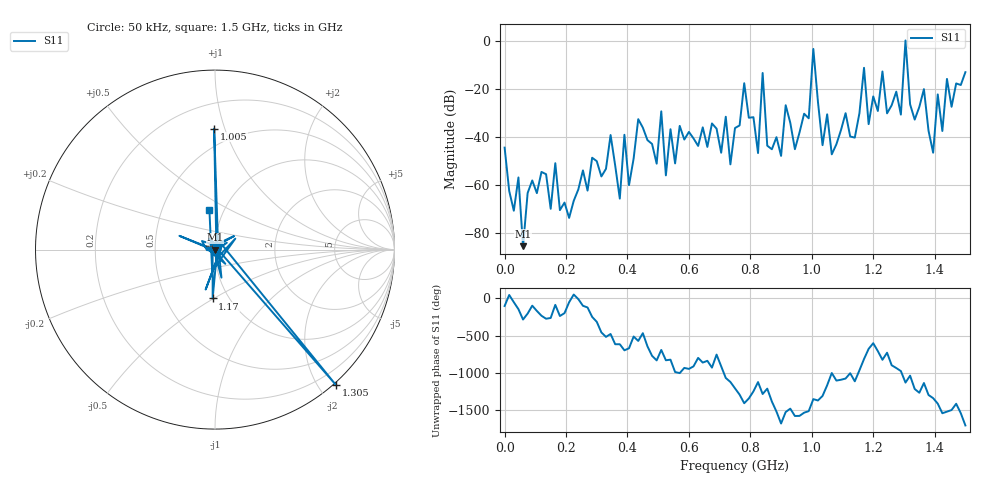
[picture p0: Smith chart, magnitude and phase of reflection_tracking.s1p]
! Created with skrf 1.8.0 (http://scikit-rf.org).
# Hz S RI R 50.0
!freq ReS11 ImS11
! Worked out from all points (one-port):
!   101 points, 50 kHz to 1.5 GHz, reference 50 ohm
!   lowest |S11| = -85.6 dB at 60.05 MHz (marker M1), VSWR 1.00, Z = 50 + j0.00508 ohm
!   |S11| at or under -10 dB: start of sweep to 1.002 GHz; 1.009 GHz to 1.3 GHz (290.6 MHz wide, 25.2 % of centre); 1.311 GHz to end of sweep
!   S11 on the Smith chart (normalised r, x): 50 kHz: 1.00, -0.01; 1.005 GHz: 0.37, +0.92; 1.17 GHz: 0.84, -0.49; 1.305 GHz: -0.03, -2.23; 1.5 GHz: 0.86, +0.39
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50000  -0.00138 -0.00576
6.0048e7  1.3e-05 5.08e-05
1.950435e8  -0.000402 0.000136
3.450385e8  -0.00508 -0.00958
3.750375e8  -0.000134 0.000495
3.90037e8  0.01 0.00438
4.050365e8  0.000614 0.000763
4.350355e8  -0.02 0.0118
4.950335e8  -0.000984 -0.00255
5.10033e8  0.0296 0.0161
5.250325e8  -0.000519 -0.00148
5.70031e8  0.0033 0.0165
7.50025e8  -0.00872 -0.0124
7.80024e8  0.1061 0.0754
8.250225e8  0.00342 -0.00302
8.40022e8  -0.1983 0.0767
8.550215e8  -0.00413 -0.00502
9.450185e8  -0.00391 -0.00386
1.005016e9  -0.0047 0.674
1.035016e9  -0.00457 0.00483
1.125012e9  0.0022 0.00986
1.170011e9  -0.0131 -0.2721
1.18501e9  0.0133 0.0125
1.290007e9  -0.00775 0.0278
1.305006e9  0.6737 -0.7542
1.320006e9  0.0337 0.0332
1.395004e9  -0.00107 0.00451
1.5e9  -0.0311 0.2186
